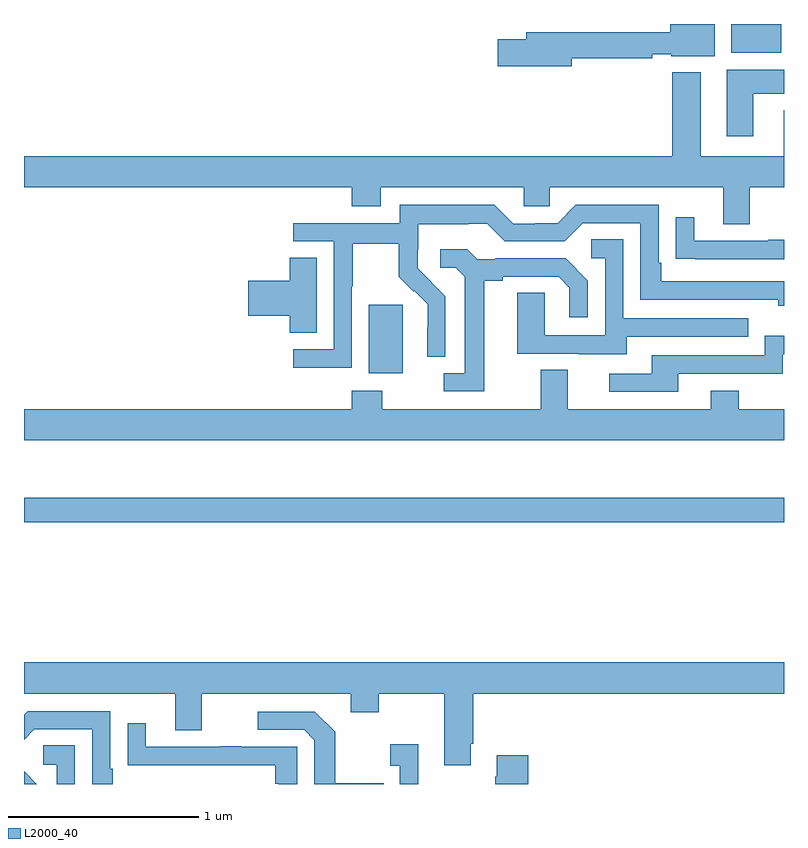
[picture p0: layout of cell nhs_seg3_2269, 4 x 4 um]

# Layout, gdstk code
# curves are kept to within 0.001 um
import gdstk
lib = gdstk.Library(unit=1e-6, precision=1e-09)
def R(c, l, rs):  # rectangles x0, y0, x1, y1
    for r in rs: c.add(gdstk.rectangle(r[:2], r[2:], *l))
def P(c, l, *ps):  # polygons
    for p in ps: c.add(gdstk.Polygon(p, *l))
L2000_40 = (2000, 40)

nhs_seg3_2269 = lib.new_cell('nhs_seg3_2269')
R(nhs_seg3_2269, L2000_40, [(227,741.778,231,741.907), (228.815,742.562,228.994,742.923), (230.723,744.248,230.986,744.4)])
P(nhs_seg3_2269, L2000_40, [(229.882,744.22),(230.306,744.22),(230.306,744.24),(230.406,744.24),(230.406,744.23),(230.635,744.23),(230.635,744.4),(230.402,744.4),(230.402,744.356),(229.643,744.356),(229.643,744.32),(229.494,744.32),(229.494,744.178),(229.882,744.178)],
  [(230.839,744.032),(231,744.032),(231,744.16),(230.699,744.16),(230.699,743.808),(230.839,743.808)],
  [(230.821,743.54),(231,743.54),(231,743.947),(230.999,743.947),(230.999,743.704),(230.563,743.704),(230.563,744.145),(230.411,744.145),(230.411,743.704),(227,743.704),(227,743.54),(228.725,743.54),(228.725,743.441),(228.877,743.441),(228.877,743.54),(229.629,743.54),(229.629,743.442),(229.767,743.442),(229.767,743.54),(230.681,743.54),(230.681,743.346),(230.821,743.346)],
  [(228.726,743.02),(228.729,743.02),(228.729,743.244),(228.973,743.244),(228.973,743.069),(229.05,742.992),(229.053,742.995),(229.124,742.925),(229.124,742.802),(229.122,742.802),(229.122,742.648),(229.218,742.648),(229.218,742.966),(229.072,743.114),(229.072,743.211),(229.074,743.211),(229.074,743.345),(229.337,743.345),(229.337,743.349),(229.437,743.349),(229.53,743.256),(229.845,743.256),(229.941,743.352),(230.244,743.352),(230.244,742.95),(230.969,742.95),(230.969,742.916),(231,742.916),(231,743.046),(230.353,743.046),(230.353,743.143),(230.34,743.143),(230.34,743.448),(229.905,743.448),(229.809,743.352),(229.691,743.352),(229.691,743.349),(229.575,743.349),(229.475,743.449),(228.978,743.449),(228.978,743.352),(228.417,743.352),(228.417,743.256),(228.63,743.256),(228.63,742.689),(228.417,742.689),(228.417,742.591),(228.726,742.591)],
  [(231,743.264),(230.917,743.264),(230.917,743.259),(230.527,743.259),(230.527,743.383),(230.431,743.383),(230.431,743.164),(230.533,743.164),(230.533,743.163),(231,743.163)],
  [(230.173,742.755),(230.813,742.755),(230.813,742.851),(230.154,742.851),(230.154,743.267),(229.986,743.267),(229.986,743.166),(230.058,743.166),(230.058,742.761),(229.74,742.761),(229.74,742.985),(229.595,742.985),(229.595,742.665),(229.919,742.665),(229.919,742.661),(230.173,742.661)],
  [(229.423,743.048),(229.519,743.048),(229.519,743.07),(229.814,743.07),(229.871,743.013),(229.871,742.857),(229.968,742.857),(229.968,743.05),(229.852,743.166),(229.48,743.166),(229.48,743.163),(229.386,743.163),(229.334,743.215),(229.191,743.215),(229.191,743.118),(229.272,743.118),(229.319,743.071),(229.319,742.563),(229.209,742.563),(229.209,742.467),(229.423,742.467)],
  [(228.541,743.171),(228.398,743.171),(228.398,743.048),(228.18,743.048),(228.18,742.865),(228.398,742.865),(228.398,742.774),(228.541,742.774)],
  [(230.443,742.56),(230.994,742.56),(230.994,742.662),(231,742.662),(231,742.759),(230.898,742.759),(230.898,742.656),(230.303,742.656),(230.303,742.56),(230.079,742.56),(230.079,742.464),(230.443,742.464)],
  [(231,742.372),(230.763,742.372),(230.763,742.471),(230.615,742.471),(230.615,742.372),(229.861,742.372),(229.861,742.58),(229.721,742.58),(229.721,742.372),(228.885,742.372),(228.885,742.471),(228.725,742.471),(228.725,742.372),(227,742.372),(227,742.208),(231,742.208)],
  [(229.351,740.611),(229.364,740.611),(229.364,740.876),(231,740.876),(231,741.04),(227,741.04),(227,740.876),(227.795,740.876),(227.795,740.682),(227.935,740.682),(227.935,740.876),(228.719,740.876),(228.719,740.777),(228.867,740.777),(228.867,740.876),(229.211,740.876),(229.211,740.499),(229.351,740.499)],
  [(227.467,740.479),(227.454,740.479),(227.454,740.784),(227.019,740.784),(227,740.765),(227,740.633),(227.055,740.688),(227.358,740.688),(227.358,740.4),(227.467,740.4)],
  [(228.893,740.403),(228.637,740.403),(228.637,740.675),(228.531,740.781),(228.231,740.781),(228.231,740.685),(228.474,740.685),(228.528,740.631),(228.528,740.4),(228.893,740.4)],
  [(228.438,740.595),(228.143,740.595),(228.143,740.6),(228.031,740.6),(228.031,740.595),(227.641,740.595),(227.641,740.719),(227.545,740.719),(227.545,740.5),(227.647,740.5),(227.647,740.499),(228.322,740.499),(228.322,740.402),(228.342,740.402),(228.342,740.4),(228.438,740.4)],
  [(229.075,740.608),(228.927,740.608),(228.927,740.495),(228.978,740.495),(228.978,740.4),(229.075,740.4)],
  [(227.268,740.603),(227.1,740.603),(227.1,740.502),(227.172,740.502),(227.172,740.4),(227.268,740.4)],
  [(229.655,740.551),(229.487,740.551),(229.487,740.438),(229.48,740.438),(229.48,740.4),(229.655,740.4)],
  [(227,740.468),(227,740.4),(227.068,740.4)])

lib.write_gds('nhs_seg3_2269.gds')
